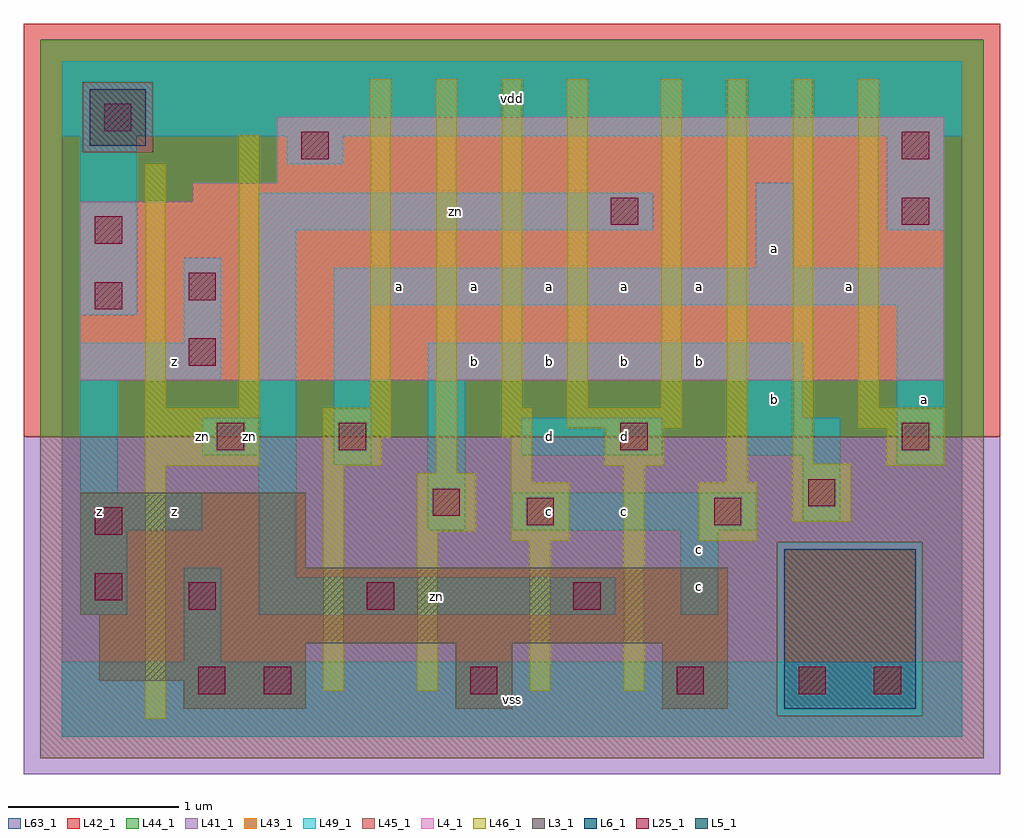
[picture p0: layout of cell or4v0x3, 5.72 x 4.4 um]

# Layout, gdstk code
import gdstk
lib = gdstk.Library(unit=1e-6, precision=1e-09)
def R(c, l, rs):  # rectangles x0, y0, x1, y1
    for r in rs: c.add(gdstk.rectangle(r[:2], r[2:], *l))
def A(c, l, x, y, w, h, nx, ny, dx, dy):  # array of equal rectangles
    R(c, l, [(x+i*dx, y+j*dy, x+i*dx+w, y+j*dy+h) for i in range(nx) for j in range(ny)])
L3_1 = (3, 1)
L4_1 = (4, 1)
L5_1 = (5, 1)
L6_1 = (6, 1)
L25_1 = (25, 1)
L41_1 = (41, 1)
L42_1 = (42, 1)
L43_1 = (43, 1)
L44_1 = (44, 1)
L45_1 = (45, 1)
L46_1 = (46, 1)
L49_1 = (49, 1)
L63_1 = (63, 1)

or4v0x3 = lib.new_cell('or4v0x3')
R(or4v0x3, L3_1, [(0.715,0.165,1.43,0.33), (2.31,0.165,2.64,0.55), (3.52,0.165,3.905,0.55), (0.22,0.33,1.43,0.55), (0.22,0.55,3.905,0.715), (0.11,0.715,3.905,0.99), (0.11,0.99,1.43,1.43)])
R(or4v0x3, L4_1, [(0.11,2.09,5.17,3.135), (0.77,3.135,5.17,3.245), (1.265,3.245,5.17,3.63)])
R(or4v0x3, L5_1, [(0.165,3.465,0.495,3.795)])
R(or4v0x3, L6_1, [(4.235,0.165,5.005,1.1)])
A(or4v0x3, L25_1, 1.185, 0.25, 0.16, 0.16, 3, 1, 1.21, 0)
A(or4v0x3, L25_1, 1.625, 1.68, 0.16, 0.16, 3, 1, 1.65, 0)
R(or4v0x3, L25_1, [(0.8,0.25,0.96,0.41), (4.32,0.25,4.48,0.41), (4.76,0.25,4.92,0.41), (0.745,0.745,0.905,0.905), (1.79,0.745,1.95,0.905), (3,0.745,3.16,0.905), (0.195,0.8,0.355,0.96), (0.195,1.185,0.355,1.345), (2.725,1.24,2.885,1.4), (3.825,1.24,3.985,1.4), (2.175,1.295,2.335,1.455), (4.375,1.35,4.535,1.51), (0.91,1.68,1.07,1.84), (0.745,2.175,0.905,2.335), (0.195,2.505,0.355,2.665), (0.745,2.56,0.905,2.72), (0.195,2.89,0.355,3.05), (3.22,3,3.38,3.16), (4.925,3,5.085,3.16), (1.405,3.385,1.565,3.545), (4.925,3.385,5.085,3.545), (0.25,3.55,0.41,3.71)])
R(or4v0x3, L41_1, [(-0.22,-0.22,5.5,1.76)])
R(or4v0x3, L42_1, [(-0.22,1.76,5.5,4.18)])
R(or4v0x3, L43_1, [(0.715,0.165,1.43,0.33), (2.31,0.165,2.64,0.55), (3.52,0.165,3.905,0.55), (4.235,0.165,5.005,1.1), (0.22,0.33,1.43,0.55), (0.22,0.55,3.905,0.715), (0.11,0.715,3.905,0.99), (0.11,0.99,1.43,1.43), (0.11,2.09,5.17,3.135), (0.77,3.135,5.17,3.245), (1.265,3.245,5.17,3.63), (0.165,3.465,0.495,3.795)])
R(or4v0x3, L44_1, [(4.195,0.125,5.045,1.14), (-0.125,1.76,5.405,3.425), (-0.125,3.425,0.125,3.835), (0.535,3.425,5.405,3.835), (-0.125,3.835,5.405,4.085)])
R(or4v0x3, L45_1, [(-0.125,-0.125,5.405,0.125), (-0.125,0.125,4.195,1.14), (5.045,0.125,5.405,1.14), (-0.125,1.14,5.405,1.76), (0.125,3.425,0.535,3.835)])
R(or4v0x3, L46_1, [(0.49,0.105,0.61,1.59), (1.535,0.27,1.655,1.59), (2.085,0.27,2.205,1.205), (2.745,0.27,2.865,1.15), (3.295,0.27,3.415,1.59), (2.635,1.15,2.975,1.49), (3.735,1.15,4.075,1.49), (2.085,1.205,2.425,1.545), (4.285,1.26,4.625,1.6), (2.635,1.49,2.755,1.755), (3.9,1.49,4.02,3.855), (2.195,1.545,2.315,3.855), (0.49,1.59,1.16,1.93), (1.535,1.59,1.875,1.755), (3.185,1.59,3.525,1.81), (4.835,1.59,5.175,1.81), (4.285,1.6,4.405,3.855), (1.535,1.755,1.93,1.93), (2.58,1.755,2.755,1.93), (2.965,1.81,3.635,1.93), (4.67,1.81,5.175,1.93), (0.49,1.93,0.61,3.36), (1.04,1.93,1.16,3.525), (1.81,1.93,1.93,3.855), (2.58,1.93,2.7,3.855), (2.965,1.93,3.085,3.855), (3.515,1.93,3.635,3.855), (4.67,1.93,4.79,3.855)])
R(or4v0x3, L49_1, [(0,0,5.28,0.44), (0.715,0.44,0.935,0.99), (0.11,0.715,0.385,1.21), (1.155,0.715,3.245,0.935), (3.63,0.715,3.85,1.21), (1.155,0.935,1.375,1.65), (0.11,1.21,0.825,1.43), (2.145,1.21,2.365,2.09), (2.64,1.21,4.07,1.43), (4.345,1.265,4.565,1.65), (0.11,1.43,0.33,2.09), (1.595,1.595,1.815,2.53), (4.895,1.595,5.17,2.53), (0.825,1.65,1.375,1.87), (2.695,1.65,3.52,1.87), (4.015,1.65,4.565,1.87), (1.155,1.87,1.375,2.97), (4.015,1.87,4.345,2.09), (0.11,2.09,0.935,2.31), (2.145,2.09,4.345,2.31), (0.715,2.31,0.935,2.805), (0.11,2.475,0.44,3.52), (1.595,2.53,5.17,2.75), (4.07,2.75,4.29,3.245), (1.155,2.97,3.465,3.19), (4.84,2.97,5.17,3.52), (1.32,3.355,1.65,3.52), (0,3.52,5.28,3.96)])
R(or4v0x3, L63_1, [(0,0,5.28,3.96)])
or4v0x3.add(gdstk.Label('zn', (0.825,1.76), layer=46, texttype=1))
or4v0x3.add(gdstk.Label('z', (0.22,1.32), layer=49, texttype=1))
or4v0x3.add(gdstk.Label('z', (0.66,1.32), layer=49, texttype=1))
or4v0x3.add(gdstk.Label('z', (0.66,2.2), layer=49, texttype=1))
or4v0x3.add(gdstk.Label('zn', (1.1,1.76), layer=49, texttype=1))
or4v0x3.add(gdstk.Label('vss', (2.64,0.22), layer=49, texttype=1))
or4v0x3.add(gdstk.Label('c', (2.86,1.32), layer=49, texttype=1))
or4v0x3.add(gdstk.Label('d', (2.86,1.76), layer=49, texttype=1))
or4v0x3.add(gdstk.Label('b', (2.42,2.2), layer=49, texttype=1))
or4v0x3.add(gdstk.Label('b', (2.86,2.2), layer=49, texttype=1))
or4v0x3.add(gdstk.Label('a', (1.98,2.64), layer=49, texttype=1))
or4v0x3.add(gdstk.Label('a', (2.42,2.64), layer=49, texttype=1))
or4v0x3.add(gdstk.Label('a', (2.86,2.64), layer=49, texttype=1))
or4v0x3.add(gdstk.Label('vdd', (2.64,3.74), layer=49, texttype=1))
or4v0x3.add(gdstk.Label('c', (3.74,0.88), layer=49, texttype=1))
or4v0x3.add(gdstk.Label('zn', (2.2,0.825), layer=49, texttype=1))
or4v0x3.add(gdstk.Label('c', (3.3,1.32), layer=49, texttype=1))
or4v0x3.add(gdstk.Label('c', (3.74,1.1), layer=49, texttype=1))
or4v0x3.add(gdstk.Label('d', (3.3,1.76), layer=49, texttype=1))
or4v0x3.add(gdstk.Label('b', (3.3,2.2), layer=49, texttype=1))
or4v0x3.add(gdstk.Label('b', (3.74,2.2), layer=49, texttype=1))
or4v0x3.add(gdstk.Label('b', (4.18,1.98), layer=49, texttype=1))
or4v0x3.add(gdstk.Label('a', (3.3,2.64), layer=49, texttype=1))
or4v0x3.add(gdstk.Label('a', (4.18,2.86), layer=49, texttype=1))
or4v0x3.add(gdstk.Label('a', (3.74,2.64), layer=49, texttype=1))
or4v0x3.add(gdstk.Label('zn', (2.31,3.08), layer=49, texttype=1))
or4v0x3.add(gdstk.Label('a', (5.06,1.98), layer=49, texttype=1))
or4v0x3.add(gdstk.Label('a', (4.62,2.64), layer=49, texttype=1))

lib.write_gds('or4v0x3.gds')
